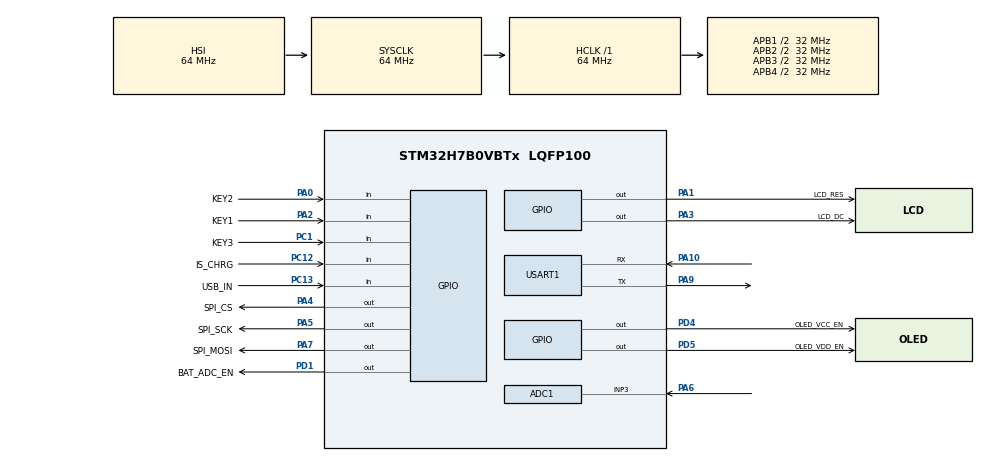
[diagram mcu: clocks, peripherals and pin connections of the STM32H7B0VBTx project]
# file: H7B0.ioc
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ADC1.Channel-1\#ChannelRegularConversion=ADC_CHANNEL_3
ADC1.ClockPrescaler=ADC_CLOCK_ASYNC_DIV16
ADC1.NbrOfConversionFlag=1
ADC1.OffsetNumber-1\#ChannelRegularConversion=ADC_OFFSET_NONE
ADC1.OffsetSignedSaturation-1\#ChannelRegularConversion=DISABLE
ADC1.Rank-1\#ChannelRegularConversion=1
ADC1.Resolution=ADC_RESOLUTION_12B
ADC1.SamplingTime-1\#ChannelRegularConversion=ADC_SAMPLETIME_64CYCLES_5
ADC1.master=1
Mcu.Family=STM32H7
Mcu.Name=STM32H7B0VBTx
Mcu.Package=LQFP100
NVIC.PriorityGroup=NVIC_PRIORITYGROUP_4
NVIC.USART1_IRQn=true\:0\:0\:false\:false\:true\:true\:true
PA0.GPIO_Label=KEY2
PA0.GPIO_PuPd=GPIO_PULLUP
PA0.Signal=GPIO_Input
PA1.GPIO_Label=LCD_RES
PA1.Signal=GPIO_Output
PA10.Mode=Asynchronous
PA10.Signal=USART1_RX
PA13.Mode=Serial_Wire
PA13.Signal=DEBUG_JTMS-SWDIO
PA14.Mode=Serial_Wire
PA14.Signal=DEBUG_JTCK-SWCLK
PA2.GPIO_Label=KEY1
PA2.GPIO_PuPd=GPIO_PULLUP
PA2.Signal=GPIO_Input
PA3.GPIO_Label=LCD_DC
PA3.Signal=GPIO_Output
PA4.GPIO_Label=SPI_CS
PA4.Signal=GPIO_Output
PA5.GPIO_Label=SPI_SCK
PA5.Signal=GPIO_Output
PA6.Signal=ADCx_INP3
PA7.GPIO_Label=SPI_MOSI
PA7.Signal=GPIO_Output
PA9.Mode=Asynchronous
PA9.Signal=USART1_TX
PC1.GPIO_Label=KEY3
PC1.GPIO_PuPd=GPIO_PULLUP
PC1.Signal=GPIO_Input
PC12.GPIO_Label=IS_CHRG
PC12.GPIO_PuPd=GPIO_PULLUP
PC12.Signal=GPIO_Input
PC13.GPIO_Label=USB_IN
PC13.GPIO_PuPd=GPIO_NOPULL
PC13.Signal=GPIO_Input
PD1.GPIO_Label=BAT_ADC_EN
PD1.GPIO_ModeDefaultOutputPP=GPIO_MODE_OUTPUT_OD
PD1.GPIO_PuPd=GPIO_NOPULL
PD1.PinState=GPIO_PIN_SET
PD1.Signal=GPIO_Output
PD4.GPIO_Label=OLED_VCC_EN
PD4.Signal=GPIO_Output
PD5.GPIO_Label=OLED_VDD_EN
PD5.PinState=GPIO_PIN_SET
PD5.Signal=GPIO_Output
ProjectManager.HeapSize=0x00
ProjectManager.StackSize=0x600
ProjectManager.TargetToolchain=STM32CubeIDE
RCC.ADCCLockSelection=RCC_ADCCLKSOURCE_CLKP
RCC.ADCFreq_Value=64000000
RCC.APB1Freq_Value=32000000
RCC.APB2Freq_Value=32000000
RCC.APB3Freq_Value=32000000
RCC.APB4Freq_Value=32000000
RCC.CDPPRE=RCC_APB3_DIV2
RCC.CDPPRE1=RCC_APB1_DIV2
RCC.CDPPRE2=RCC_APB2_DIV2
RCC.CortexFreq_Value=64000000
RCC.DIVM1=16
RCC.DIVN1=100
RCC.HCLKFreq_Value=64000000
RCC.HSE_VALUE=16000000
RCC.PLLSourceVirtual=RCC_PLLSOURCE_HSI
RCC.RNGCLockSelection=RCC_RNGCLKSOURCE_HSI48
RCC.SRDPPRE=RCC_APB4_DIV2
RCC.SYSCLKFreq_VALUE=64000000
RCC.USBCLockSelection=RCC_USBCLKSOURCE_HSI48
RCC.USBFreq_Value=48000000
SH.ADCx_INP3.0=ADC1_INP3,IN3-Single-Ended
USART1.VirtualMode-Asynchronous=VM_ASYNC
VP_RNG_VS_RNG.Mode=RNG_Activate
board=custom

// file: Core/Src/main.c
/* USER CODE BEGIN Header */
/**
 ******************************************************************************
 * @file           : main.c
 * @brief          : Main program body
 ******************************************************************************
 * @attention
 *
 * Copyright (c) 2021 STMicroelectronics.
 * All rights reserved.
 *
 * This software is licensed under terms that can be found in the LICENSE file
 * in the root directory of this software component.
 * If no LICENSE file comes with this software, it is provided AS-IS.
 *
 ******************************************************************************
 */
/* USER CODE END Header */
#include "main.h"
#include "adc.h"
#include "rng.h"
#include "usart.h"
#include "gpio.h"

/* USER CODE BEGIN Includes */
#include "includes.h"
/* USER CODE END Includes */

void SystemClock_Config(void);
void PeriphCommonClock_Config(void);

int main(void) {

	/* MCU Configuration--------------------------------------------------------*/

	/* Reset of all peripherals, Initializes the Flash interface and the Systick. */
	HAL_Init();

	/* Configure the system clock */
	SystemClock_Config();

	/* Configure the peripherals common clocks */
	PeriphCommonClock_Config();

	/* USER CODE BEGIN SysInit */
	__HAL_PWR_CLEAR_WAKEUPFLAG(PWR_FLAG_WKUP1);
	__HAL_PWR_CLEAR_WAKEUPFLAG(PWR_FLAG_WKUP2);
	__HAL_PWR_CLEAR_WAKEUPFLAG(PWR_FLAG_WKUP3);
	__HAL_PWR_CLEAR_WAKEUPFLAG(PWR_FLAG_WKUP4);
	__HAL_PWR_CLEAR_WAKEUPFLAG(PWR_FLAG_WKUP5);
	__HAL_PWR_CLEAR_WAKEUPFLAG(PWR_FLAG_WKUP6);
	HAL_PWR_DisableWakeUpPin(PWR_FLAG_WKUP1);
	HAL_PWR_DisableWakeUpPin(PWR_FLAG_WKUP2);
	HAL_PWR_DisableWakeUpPin(PWR_FLAG_WKUP3);
	HAL_PWR_DisableWakeUpPin(PWR_FLAG_WKUP4);
	HAL_PWR_DisableWakeUpPin(PWR_FLAG_WKUP5);
	HAL_PWR_DisableWakeUpPin(PWR_FLAG_WKUP6);
	HAL_PWREx_ControlStopModeVoltageScaling(PWR_REGULATOR_SVOS_SCALE5);
	/* USER CODE END SysInit */

	/* Initialize all configured peripherals */
	MX_GPIO_Init();
	MX_USART1_UART_Init();
	MX_RNG_Init();
	MX_ADC1_Init();
	/* USER CODE BEGIN 2 */
	HAL_ADCEx_Calibration_Start(&hadc1, ADC_CALIB_OFFSET, ADC_SINGLE_ENDED);
	HAL_ADC_Start(&hadc1);
	__HAL_UART_ENABLE_IT(&huart1, UART_IT_RXNE);
	CommandInit();
	ServiceInit();

	DBG_LOG("System start.");
	/* USER CODE END 2 */

	/* Infinite loop */
	/* USER CODE BEGIN WHILE */
	while (1) {
		CommandReceivePolling();
		ButtonScanPolling();
		ServicePolling();
		/* USER CODE END WHILE */

	}
}

void SystemClock_Config(void) {
	RCC_OscInitTypeDef RCC_OscInitStruct = { 0 };
	RCC_ClkInitTypeDef RCC_ClkInitStruct = { 0 };

	/** Supply configuration update enable
	 */
	HAL_PWREx_ConfigSupply(PWR_LDO_SUPPLY);
	/** Configure the main internal regulator output voltage
	 */
	__HAL_PWR_VOLTAGESCALING_CONFIG(PWR_REGULATOR_VOLTAGE_SCALE3);

	while (!__HAL_PWR_GET_FLAG(PWR_FLAG_VOSRDY)) {
	}
	/** Initializes the RCC Oscillators according to the specified parameters
	 * in the RCC_OscInitTypeDef structure.
	 */
	RCC_OscInitStruct.OscillatorType = RCC_OSCILLATORTYPE_HSI
			| RCC_OSCILLATORTYPE_LSI | RCC_OSCILLATORTYPE_HSI48;
	RCC_OscInitStruct.HSIState = RCC_HSI_DIV1;
	RCC_OscInitStruct.HSICalibrationValue = RCC_HSICALIBRATION_DEFAULT;
	RCC_OscInitStruct.LSIState = RCC_LSI_ON;
	/* HSI48 clocks the RNG, must be ready before MX_RNG_Init() */
	RCC_OscInitStruct.HSI48State = RCC_HSI48_ON;
	RCC_OscInitStruct.PLL.PLLState = RCC_PLL_NONE;
	if (HAL_RCC_OscConfig(&RCC_OscInitStruct) != HAL_OK) {
		Error_Handler();
	}
	/** Initializes the CPU, AHB and APB buses clocks
	 */
	RCC_ClkInitStruct.ClockType = RCC_CLOCKTYPE_HCLK | RCC_CLOCKTYPE_SYSCLK
			| RCC_CLOCKTYPE_PCLK1 | RCC_CLOCKTYPE_PCLK2 | RCC_CLOCKTYPE_D3PCLK1
			| RCC_CLOCKTYPE_D1PCLK1;
	RCC_ClkInitStruct.SYSCLKSource = RCC_SYSCLKSOURCE_HSI;
	RCC_ClkInitStruct.SYSCLKDivider = RCC_SYSCLK_DIV1;
	RCC_ClkInitStruct.AHBCLKDivider = RCC_HCLK_DIV1;
	RCC_ClkInitStruct.APB3CLKDivider = RCC_APB3_DIV2;
	RCC_ClkInitStruct.APB1CLKDivider = RCC_APB1_DIV2;
	RCC_ClkInitStruct.APB2CLKDivider = RCC_APB2_DIV2;
	RCC_ClkInitStruct.APB4CLKDivider = RCC_APB4_DIV2;

	if (HAL_RCC_ClockConfig(&RCC_ClkInitStruct, FLASH_LATENCY_2) != HAL_OK) {
		Error_Handler();
	}
}

void PeriphCommonClock_Config(void) {
	RCC_PeriphCLKInitTypeDef PeriphClkInitStruct = { 0 };

	/** Initializes the peripherals clock
	 */
	PeriphClkInitStruct.PeriphClockSelection = RCC_PERIPHCLK_CKPER;
	PeriphClkInitStruct.CkperClockSelection = RCC_CLKPSOURCE_HSI;
	if (HAL_RCCEx_PeriphCLKConfig(&PeriphClkInitStruct) != HAL_OK) {
		Error_Handler();
	}
}

void Error_Handler(void) {
	__disable_irq();
	while (1) {
	}
}

#ifdef  USE_FULL_ASSERT
/**
  * @brief  Reports the name of the source file and the source line number
  *         where the assert_param error has occurred.
  * @param  file: pointer to the source file name
  * @param  line: assert_param error line source number
  * @retval None
  */
void assert_failed(uint8_t *file, uint32_t line)
{
  /* USER CODE BEGIN 6 */
  /* User can add his own implementation to report the file name and line
     number,
     ex: printf("Wrong parameters value: file %s on line %d\r\n", file, line) */
  /* USER CODE END 6 */
}
#endif /* USE_FULL_ASSERT */
